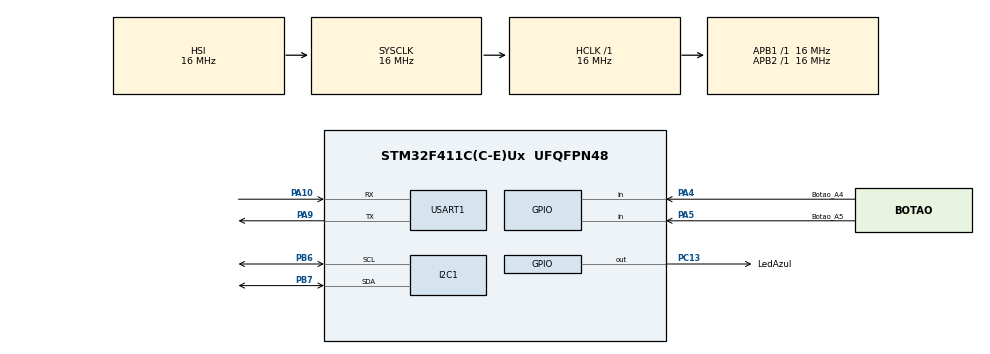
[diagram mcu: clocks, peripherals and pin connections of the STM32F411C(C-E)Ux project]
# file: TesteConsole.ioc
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Mcu.Family=STM32F4
Mcu.Name=STM32F411C(C-E)Ux
Mcu.Package=UFQFPN48
NVIC.PriorityGroup=NVIC_PRIORITYGROUP_4
NVIC.RCC_IRQn=true\:0\:0\:false\:false\:true\:true\:false\:true
NVIC.USART1_IRQn=true\:0\:0\:false\:false\:true\:true\:true\:true
PA10.Mode=Asynchronous
PA10.Signal=USART1_RX
PA4.GPIO_Label=Botao_A4
PA4.Signal=GPIO_Input
PA5.GPIO_Label=Botao_A5
PA5.Signal=GPIO_Input
PA9.Mode=Asynchronous
PA9.Signal=USART1_TX
PB6.Mode=I2C
PB6.Signal=I2C1_SCL
PB7.Mode=I2C
PB7.Signal=I2C1_SDA
PC13-ANTI_TAMP.GPIO_Label=LedAzul
PC13-ANTI_TAMP.Signal=GPIO_Output
PC14-OSC32_IN.Mode=LSE-External-Oscillator
PC14-OSC32_IN.Signal=RCC_OSC32_IN
PC15-OSC32_OUT.Mode=LSE-External-Oscillator
PC15-OSC32_OUT.Signal=RCC_OSC32_OUT
PH0\ -\ OSC_IN.Mode=HSE-External-Oscillator
PH0\ -\ OSC_IN.Signal=RCC_OSC_IN
PH1\ -\ OSC_OUT.Mode=HSE-External-Oscillator
PH1\ -\ OSC_OUT.Signal=RCC_OSC_OUT
ProjectManager.HeapSize=0x200
ProjectManager.StackSize=0x400
ProjectManager.TargetToolchain=STM32CubeIDE
RCC.AHBFreq_Value=16000000
RCC.APB1Freq_Value=16000000
RCC.APB2Freq_Value=16000000
RCC.CortexFreq_Value=16000000
RCC.HSE_VALUE=25000000
RCC.HSI_VALUE=16000000
RCC.SYSCLKFreq_VALUE=16000000
RCC.VCOOutputFreq_Value=192000000
USART1.VirtualMode=VM_ASYNC
board=custom

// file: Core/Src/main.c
/* USER CODE BEGIN Header */
/**
  ******************************************************************************
  * @file           : main.c
  * @brief          : Main program body
  ******************************************************************************
  * @attention
  *
  * Copyright (c) 2024 STMicroelectronics.
  * All rights reserved.
  *
  * This software is licensed under terms that can be found in the LICENSE file
  * in the root directory of this software component.
  * If no LICENSE file comes with this software, it is provided AS-IS.
  *
  ******************************************************************************
  */
/* USER CODE END Header */
#include "main.h"

/* USER CODE BEGIN Includes */
#include<stdint.h>  //uint8_t...
#include<stdio.h> //sprintf()
#include<string.h> //tratamento de string
/* USER CODE END Includes */

I2C_HandleTypeDef hi2c1;

UART_HandleTypeDef huart1;

void SystemClock_Config(void);
static void MX_GPIO_Init(void);
static void MX_I2C1_Init(void);
static void MX_USART1_UART_Init(void);

int main(void)
{

  /* USER CODE BEGIN 1 */
int contador=0;
  /* USER CODE END 1 */

  /* MCU Configuration--------------------------------------------------------*/

  /* Reset of all peripherals, Initializes the Flash interface and the Systick. */
  HAL_Init();

  /* Configure the system clock */
  SystemClock_Config();

  /* Initialize all configured peripherals */
  MX_GPIO_Init();
  MX_I2C1_Init();
  MX_USART1_UART_Init();

  /* Infinite loop */
  /* USER CODE BEGIN WHILE */

 //string que limpa a tela do terminal e cursor na posição 1x1
 const uint8_t CLRSCR[] = "\033[0H\033[0J";

 //buffer para envio de dados
 uint8_t DadoTX[200] = {0};

 //buffer para recebimento de dados
 uint8_t DadoRX[1] = {0};

  while (1)
  {
    /* USER CODE END WHILE */

    /* USER CODE BEGIN 3 */
	  HAL_UART_Receive(&huart1, DadoRX, 1, 100);

	  	  // Caso tenha recebido um dado, inverte o estado dos LEDs.
	  	  if(DadoRX[0] != 0){
	  		  switch(DadoRX[0]){
	  			  case '1': HAL_GPIO_TogglePin(LedAzul_GPIO_Port, LedAzul_Pin);        // Inverte valor do pino LED_AZUL
	  			  	  	    DadoRX[0] = 0;                                               // Zera caractere recebido
	  			  	  	  	break;

	  		  }

	  	  }
	  	 // Envia pela serial o caractere para limpar a tela do terminal
	  	  	  HAL_UART_Transmit(&huart1, (unsigned char *)CLRSCR, strlen((const char *)CLRSCR), 100);

	  	  	  // Atualiza tela do terminal com os valores
	  	  	  sprintf((char *)DadoTX,
	  	  	  	    "Estados dos LEDS:%d\n\r1 - Led Azul",	     HAL_GPIO_ReadPin(LedAzul_GPIO_Port, LED_AZUL_Pin));

	  	  	  // Envia pela serial texto atualizado
	  	  	  HAL_UART_Transmit(&huart1, DadoTX, strlen((const char *)DadoTX), 500);
  }
  /* USER CODE END 3 */
}

void SystemClock_Config(void)
{
  RCC_OscInitTypeDef RCC_OscInitStruct = {0};
  RCC_ClkInitTypeDef RCC_ClkInitStruct = {0};

  /** Configure the main internal regulator output voltage
  */
  __HAL_RCC_PWR_CLK_ENABLE();
  __HAL_PWR_VOLTAGESCALING_CONFIG(PWR_REGULATOR_VOLTAGE_SCALE1);

  /** Initializes the RCC Oscillators according to the specified parameters
  * in the RCC_OscInitTypeDef structure.
  */
  RCC_OscInitStruct.OscillatorType = RCC_OSCILLATORTYPE_HSI;
  RCC_OscInitStruct.HSIState = RCC_HSI_ON;
  RCC_OscInitStruct.HSICalibrationValue = RCC_HSICALIBRATION_DEFAULT;
  RCC_OscInitStruct.PLL.PLLState = RCC_PLL_NONE;
  if (HAL_RCC_OscConfig(&RCC_OscInitStruct) != HAL_OK)
  {
    Error_Handler();
  }

  /** Initializes the CPU, AHB and APB buses clocks
  */
  RCC_ClkInitStruct.ClockType = RCC_CLOCKTYPE_HCLK|RCC_CLOCKTYPE_SYSCLK
                              |RCC_CLOCKTYPE_PCLK1|RCC_CLOCKTYPE_PCLK2;
  RCC_ClkInitStruct.SYSCLKSource = RCC_SYSCLKSOURCE_HSI;
  RCC_ClkInitStruct.AHBCLKDivider = RCC_SYSCLK_DIV1;
  RCC_ClkInitStruct.APB1CLKDivider = RCC_HCLK_DIV1;
  RCC_ClkInitStruct.APB2CLKDivider = RCC_HCLK_DIV1;

  if (HAL_RCC_ClockConfig(&RCC_ClkInitStruct, FLASH_LATENCY_0) != HAL_OK)
  {
    Error_Handler();
  }
}

static void MX_I2C1_Init(void)
{

  hi2c1.Instance = I2C1;
  hi2c1.Init.ClockSpeed = 100000;
  hi2c1.Init.DutyCycle = I2C_DUTYCYCLE_2;
  hi2c1.Init.OwnAddress1 = 0;
  hi2c1.Init.AddressingMode = I2C_ADDRESSINGMODE_7BIT;
  hi2c1.Init.DualAddressMode = I2C_DUALADDRESS_DISABLE;
  hi2c1.Init.OwnAddress2 = 0;
  hi2c1.Init.GeneralCallMode = I2C_GENERALCALL_DISABLE;
  hi2c1.Init.NoStretchMode = I2C_NOSTRETCH_DISABLE;
  if (HAL_I2C_Init(&hi2c1) != HAL_OK)
  {
    Error_Handler();
  }

}

static void MX_USART1_UART_Init(void)
{

  huart1.Instance = USART1;
  huart1.Init.BaudRate = 115200;
  huart1.Init.WordLength = UART_WORDLENGTH_8B;
  huart1.Init.StopBits = UART_STOPBITS_1;
  huart1.Init.Parity = UART_PARITY_NONE;
  huart1.Init.Mode = UART_MODE_TX_RX;
  huart1.Init.HwFlowCtl = UART_HWCONTROL_NONE;
  huart1.Init.OverSampling = UART_OVERSAMPLING_16;
  if (HAL_UART_Init(&huart1) != HAL_OK)
  {
    Error_Handler();
  }

}

static void MX_GPIO_Init(void)
{
  GPIO_InitTypeDef GPIO_InitStruct = {0};

  /* GPIO Ports Clock Enable */
  __HAL_RCC_GPIOC_CLK_ENABLE();
  __HAL_RCC_GPIOH_CLK_ENABLE();
  __HAL_RCC_GPIOA_CLK_ENABLE();
  __HAL_RCC_GPIOB_CLK_ENABLE();

  /*Configure GPIO pin Output Level */
  HAL_GPIO_WritePin(LedAzul_GPIO_Port, LedAzul_Pin, GPIO_PIN_RESET);

  /*Configure GPIO pin : LedAzul_Pin */
  GPIO_InitStruct.Pin = LedAzul_Pin;
  GPIO_InitStruct.Mode = GPIO_MODE_OUTPUT_PP;
  GPIO_InitStruct.Pull = GPIO_NOPULL;
  GPIO_InitStruct.Speed = GPIO_SPEED_FREQ_LOW;
  HAL_GPIO_Init(LedAzul_GPIO_Port, &GPIO_InitStruct);

  /*Configure GPIO pins : Botao_A4_Pin Botao_A5_Pin */
  GPIO_InitStruct.Pin = Botao_A4_Pin|Botao_A5_Pin;
  GPIO_InitStruct.Mode = GPIO_MODE_INPUT;
  GPIO_InitStruct.Pull = GPIO_NOPULL;
  HAL_GPIO_Init(GPIOA, &GPIO_InitStruct);

}

void Error_Handler(void)
{
  __disable_irq();
  while (1)
  {
  }
}
